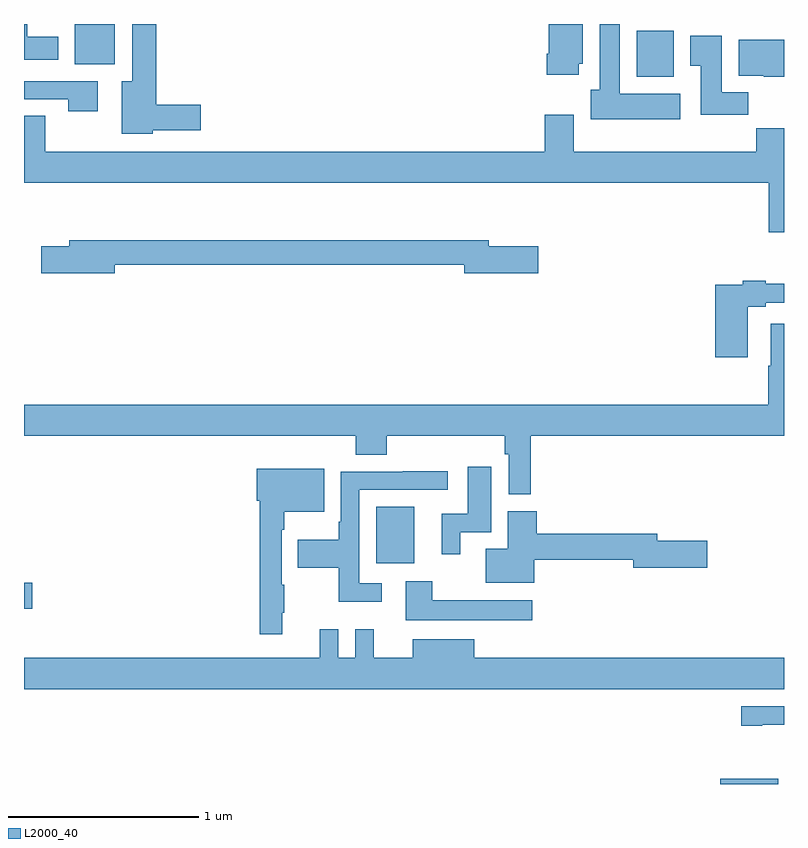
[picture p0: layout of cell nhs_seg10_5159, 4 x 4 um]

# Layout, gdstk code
import gdstk
lib = gdstk.Library(unit=1e-6, precision=1e-09)
def R(c, l, rs):  # rectangles x0, y0, x1, y1
    for r in rs: c.add(gdstk.rectangle(r[:2], r[2:], *l))
def P(c, l, *ps):  # polygons
    for p in ps: c.add(gdstk.Polygon(p, *l))
L2000_40 = (2000, 40)

nhs_seg10_5159 = lib.new_cell('nhs_seg10_5159')
R(nhs_seg10_5159, L2000_40, [(414.665,1282.5,414.971,1282.528), (411,1283.423,411.043,1283.558), (412.853,1283.663,413.053,1283.959), (414.224,1286.222,414.421,1286.464), (411.266,1286.288,411.478,1286.5)])
P(nhs_seg10_5159, L2000_40, [(414.454,1286.134),(414.136,1286.134),(414.136,1286.5),(414.029,1286.5),(414.029,1286.154),(413.984,1286.154),(413.984,1286),(414.454,1286)],
  [(411.678,1285.94),(411.931,1285.94),(411.931,1286.075),(411.695,1286.075),(411.695,1286.5),(411.569,1286.5),(411.569,1286.2),(411.515,1286.2),(411.515,1285.922),(411.678,1285.922)],
  [(411.181,1286.434),(411.016,1286.434),(411.016,1286.5),(411,1286.5),(411,1286.312),(411.181,1286.312)],
  [(413.92,1286.292),(413.941,1286.292),(413.941,1286.5),(413.762,1286.5),(413.762,1286.344),(413.75,1286.344),(413.75,1286.232),(413.92,1286.232)],
  [(414.812,1286.14),(414.673,1286.14),(414.673,1286.437),(414.506,1286.437),(414.506,1286.281),(414.563,1286.281),(414.563,1286.022),(414.812,1286.022)],
  [(415,1286.416),(414.761,1286.416),(414.761,1286.228),(414.894,1286.228),(414.894,1286.222),(415,1286.222)],
  [(411.388,1286.199),(411,1286.199),(411,1286.103),(411.232,1286.103),(411.232,1286.04),(411.388,1286.04)],
  [(415,1285.952),(414.853,1285.952),(414.853,1285.828),(413.893,1285.828),(413.893,1286.023),(413.741,1286.023),(413.741,1285.828),(411.111,1285.828),(411.111,1286.018),(411,1286.018),(411,1285.664),(414.919,1285.664),(414.919,1285.404),(415,1285.404)],
  [(411.478,1285.234),(413.318,1285.234),(413.318,1285.187),(413.707,1285.187),(413.707,1285.329),(413.446,1285.329),(413.446,1285.363),(411.239,1285.363),(411.239,1285.329),(411.09,1285.329),(411.09,1285.187),(411.478,1285.187)],
  [(414.808,1285.012),(414.904,1285.012),(414.904,1285.032),(415,1285.032),(415,1285.133),(414.904,1285.133),(414.904,1285.148),(414.784,1285.148),(414.784,1285.128),(414.638,1285.128),(414.638,1284.747),(414.808,1284.747)],
  [(413.666,1284.332),(415,1284.332),(415,1284.922),(414.929,1284.922),(414.929,1284.701),(414.917,1284.701),(414.917,1284.496),(411,1284.496),(411,1284.332),(412.745,1284.332),(412.745,1284.233),(412.91,1284.233),(412.91,1284.332),(413.53,1284.332),(413.53,1284.236),(413.55,1284.236),(413.55,1284.024),(413.666,1284.024)],
  [(413.296,1283.826),(413.458,1283.826),(413.458,1284.169),(413.336,1284.169),(413.336,1283.922),(413.198,1283.922),(413.198,1283.709),(413.296,1283.709)],
  [(412.358,1283.401),(412.369,1283.401),(412.369,1283.549),(412.356,1283.549),(412.356,1283.837),(412.369,1283.837),(412.369,1283.933),(412.579,1283.933),(412.579,1284.16),(412.226,1284.16),(412.226,1283.99),(412.24,1283.99),(412.24,1283.289),(412.358,1283.289)],
  [(412.882,1283.556),(412.764,1283.556),(412.764,1284.048),(413.23,1284.048),(413.23,1284.146),(412.993,1284.146),(412.993,1284.144),(412.668,1284.144),(412.668,1283.881),(412.656,1283.881),(412.656,1283.785),(412.441,1283.785),(412.441,1283.638),(412.656,1283.638),(412.656,1283.459),(412.882,1283.459)],
  [(413.686,1283.68),(414.206,1283.68),(414.206,1283.638),(414.595,1283.638),(414.595,1283.78),(414.334,1283.78),(414.334,1283.816),(413.699,1283.816),(413.699,1283.935),(413.546,1283.935),(413.546,1283.737),(413.429,1283.737),(413.429,1283.558),(413.686,1283.558)],
  [(413.674,1283.467),(413.149,1283.467),(413.149,1283.566),(413.009,1283.566),(413.009,1283.363),(413.674,1283.363)],
  [(415,1283.164),(413.371,1283.164),(413.371,1283.263),(413.045,1283.263),(413.045,1283.164),(412.841,1283.164),(412.841,1283.314),(412.743,1283.314),(412.743,1283.164),(412.653,1283.164),(412.653,1283.314),(412.556,1283.314),(412.556,1283.164),(411,1283.164),(411,1283),(415,1283)],
  [(414.886,1282.812),(415,1282.812),(415,1282.908),(414.774,1282.908),(414.774,1282.807),(414.886,1282.807)])

lib.write_gds('nhs_seg10_5159.gds')
